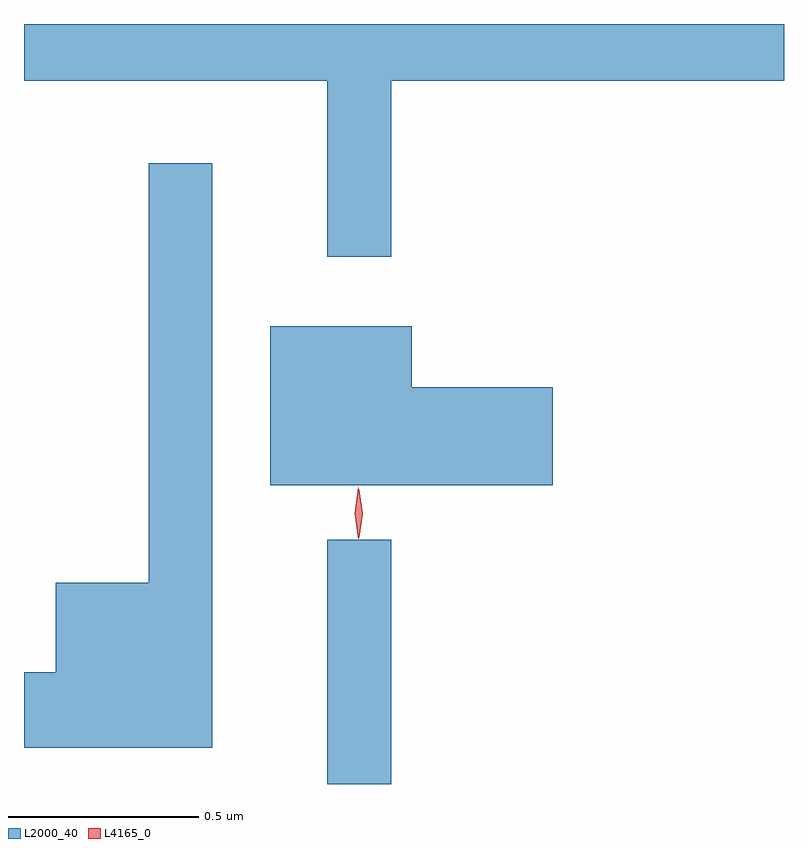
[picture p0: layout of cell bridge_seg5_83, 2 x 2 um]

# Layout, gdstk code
import gdstk
lib = gdstk.Library(unit=1e-6, precision=1e-09)
def R(c, l, rs):  # rectangles x0, y0, x1, y1
    for r in rs: c.add(gdstk.rectangle(r[:2], r[2:], *l))
def P(c, l, *ps):  # polygons
    for p in ps: c.add(gdstk.Polygon(p, *l))
L2000_40 = (2000, 40)
L4165_0 = (4165, 0)

bridge_seg5_83 = lib.new_cell('bridge_seg5_83')
R(bridge_seg5_83, L2000_40, [(1179.121,1497.125,1179.289,1497.768)])
P(bridge_seg5_83, L2000_40, [(1179.289,1498.976),(1180.323,1498.976),(1180.323,1499.125),(1178.323,1499.125),(1178.323,1498.976),(1179.121,1498.976),(1179.121,1498.513),(1179.289,1498.513)],
  [(1178.819,1498.758),(1178.651,1498.758),(1178.651,1497.654),(1178.406,1497.654),(1178.406,1497.419),(1178.323,1497.419),(1178.323,1497.221),(1178.819,1497.221)],
  [(1179.714,1498.169),(1179.344,1498.169),(1179.344,1498.329),(1178.971,1498.329),(1178.971,1497.911),(1179.714,1497.911)])
P(bridge_seg5_83, L4165_0, [(1179.204,1497.773),(1179.204,1497.773),(1179.194,1497.836),(1179.204,1497.899),(1179.204,1497.9),(1179.205,1497.899),(1179.214,1497.836),(1179.205,1497.773)],
  [(1179.203,1497.77),(1179.203,1497.77),(1179.193,1497.838),(1179.202,1497.906),(1179.202,1497.906),(1179.203,1497.906),(1179.213,1497.838),(1179.204,1497.77)])

lib.write_gds('bridge_seg5_83.gds')
